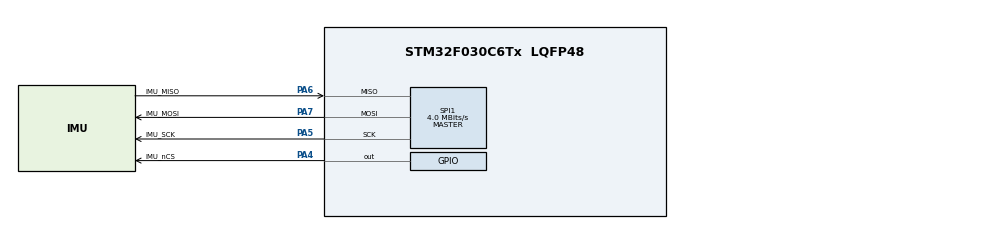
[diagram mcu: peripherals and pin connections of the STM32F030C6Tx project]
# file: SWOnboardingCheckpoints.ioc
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Mcu.Family=STM32F0
Mcu.Name=STM32F030C6Tx
Mcu.Package=LQFP48
PA4.GPIO_Label=IMU_nCS
PA4.PinState=GPIO_PIN_SET
PA4.Signal=GPIO_Output
PA5.GPIO_Label=IMU_SCK
PA5.Mode=Full_Duplex_Master
PA5.Signal=SPI1_SCK
PA6.GPIO_Label=IMU_MISO
PA6.Mode=Full_Duplex_Master
PA6.Signal=SPI1_MISO
PA7.GPIO_Label=IMU_MOSI
PA7.Mode=Full_Duplex_Master
PA7.Signal=SPI1_MOSI
ProjectManager.HeapSize=0x200
ProjectManager.StackSize=0x400
ProjectManager.TargetToolchain=CMake
SPI1.BaudRatePrescaler=SPI_BAUDRATEPRESCALER_2
SPI1.CLKPhase=SPI_PHASE_2EDGE
SPI1.CLKPolarity=SPI_POLARITY_HIGH
SPI1.CalculateBaudRate=4.0 MBits/s
SPI1.DataSize=SPI_DATASIZE_8BIT
SPI1.Direction=SPI_DIRECTION_2LINES
SPI1.Mode=SPI_MODE_MASTER
SPI1.VirtualType=VM_MASTER
board=custom

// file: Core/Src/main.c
/* USER CODE BEGIN Header */
/**
  ******************************************************************************
  * @file           : main.c
  * @brief          : Main program body
  ******************************************************************************
  * @attention
  *
  * Copyright (c) 2026 STMicroelectronics.
  * All rights reserved.
  *
  * This software is licensed under terms that can be found in the LICENSE file
  * in the root directory of this software component.
  * If no LICENSE file comes with this software, it is provided AS-IS.
  *
  ******************************************************************************
  */
/* USER CODE END Header */
#include "main.h"

/* USER CODE BEGIN Includes */
#include <stdio.h>

/* USER CODE END Includes */

SPI_HandleTypeDef hspi1;

void SystemClock_Config(void);
static void MX_GPIO_Init(void);
static void MX_SPI1_Init(void);
/* USER CODE BEGIN PFP */
extern void initialise_monitor_handles(void);
HAL_StatusTypeDef imu_read_register(uint8_t register_address, uint8_t *received_loc, uint32_t timeout);
HAL_StatusTypeDef imu_write_register(uint8_t register_address, uint8_t write_data, uint32_t timeout);
HAL_StatusTypeDef imu_read_int16(uint8_t low_register_address, int16_t *raw_var, uint32_t timeout);
void print_measurement(const char *name, double value, const char *unit, uint8_t dp);
typedef struct {
    uint8_t low_x_address;
    uint8_t low_y_address;
    uint8_t low_z_address;
    double x;
    double y;
    double z;
    double sens;
} Accelerometer;
typedef struct {
    uint8_t low_x_address;
    uint8_t low_y_address;
    uint8_t low_z_address;
    double x;
    double y;
    double z;
    double sens;
} Gyroscope;
HAL_StatusTypeDef imu_read_xyz(uint8_t x_low_address, int16_t *x_var, int16_t *y_var, int16_t *z_var, uint32_t timeout);
/* USER CODE END PFP */

int main(void)
{

  /* MCU Configuration--------------------------------------------------------*/

  /* Reset of all peripherals, Initializes the Flash interface and the Systick. */
  HAL_Init();

  /* Configure the system clock */
  SystemClock_Config();

  /* USER CODE BEGIN SysInit */
  initialise_monitor_handles();
  /* USER CODE END SysInit */

  /* Initialize all configured peripherals */
  MX_GPIO_Init();
  MX_SPI1_Init();
  /* USER CODE BEGIN 2 */
  printf("Semihosting initialized successfully!\r\n");

  uint32_t timeout = 100;
  uint8_t WHO_AM_I;
  uint8_t WHO_AM_I_address = 0x0F;

  HAL_StatusTypeDef read_status = imu_read_register(WHO_AM_I_address, &WHO_AM_I, timeout);

  if (read_status == HAL_OK) {
    printf("WHO_AM_I: 0x%02X\r\n", WHO_AM_I);
  }
  else {
    printf("Unable to read IMU register, status: %d\r\n", read_status);
  }

  uint8_t XL_address = 0x10;
  uint8_t XL_val = 0x50;
  uint8_t G_address = 0x11;
  uint8_t G_val = 0x50;
  uint8_t Ctrl_address = 0x12;
  uint8_t Ctrl_val = 0x44;

  HAL_StatusTypeDef XL_status = imu_write_register(XL_address, XL_val, timeout);
  HAL_StatusTypeDef G_status = imu_write_register(G_address, G_val, timeout);
  HAL_StatusTypeDef Ctrl_status = imu_write_register(Ctrl_address, Ctrl_val, timeout);

  printf("Accelerometer write status: %d\r\n", XL_status);
  printf("Gyroscope write status: %d\r\n", G_status);
  printf("Control register write status: %d\r\n", Ctrl_status);

  uint8_t XL_val_test;
  uint8_t G_val_test;
  uint8_t Ctrl_val_test;

  HAL_StatusTypeDef XL_read_status = imu_read_register(XL_address, &XL_val_test, timeout);
  HAL_StatusTypeDef G_read_status = imu_read_register(G_address, &G_val_test, timeout);
  HAL_StatusTypeDef Ctrl_read_status = imu_read_register(Ctrl_address, &Ctrl_val_test, timeout);

  printf("Accelerometer read status: %d\r\n", XL_read_status);
  printf("Gyroscope read status: %d\r\n", G_read_status);
  printf("Control register read status: %d\r\n", Ctrl_read_status);

  printf("\r\n");

  if (XL_read_status == HAL_OK && XL_val_test == XL_val) {
    printf("CTRL1_XL: 0x%02X\r\n", XL_val_test);
  }
  if (G_read_status == HAL_OK && G_val_test == G_val) {
    printf("CTRL2_G: 0x%02X\r\n", G_val_test);
  }
  if (Ctrl_read_status == HAL_OK && Ctrl_val_test == Ctrl_val) {
    printf("CTRL3_C: 0x%02X\r\n", Ctrl_val_test);
  }

  Accelerometer acc = { .low_x_address=0x28, .low_y_address=0x2A, .low_z_address=0x2C, .sens=0.061};
  Gyroscope gy = { .low_x_address=0x22, .low_y_address=0x24, .low_z_address=0x26,.sens=8.75};

  int16_t XL_x_raw;
  int16_t XL_y_raw;
  int16_t XL_z_raw;
  int16_t G_x_raw;
  int16_t G_y_raw;
  int16_t G_z_raw;

  uint32_t last_sample_time = HAL_GetTick();
  uint32_t last_print_time = HAL_GetTick();

  const uint32_t sample_period_ms = 5;
  const uint32_t print_period_ms = 500;
  /* USER CODE END 2 */

  /* Infinite loop */
  /* USER CODE BEGIN WHILE */
  while (1) {
    uint32_t current_time = HAL_GetTick();

    if (current_time - last_sample_time >= sample_period_ms) {
      last_sample_time += sample_period_ms;

      HAL_StatusTypeDef acc_read_status = imu_read_xyz(acc.low_x_address, &XL_x_raw, &XL_y_raw, &XL_z_raw, timeout);
      HAL_StatusTypeDef gy_read_status = imu_read_xyz(gy.low_x_address, &G_x_raw, &G_y_raw, &G_z_raw, timeout);

      if (acc_read_status == HAL_OK) {
        acc.x = (double) (XL_x_raw * acc.sens) / 1000;
        acc.y = (double) (XL_y_raw * acc.sens) / 1000;
        acc.z = (double) (XL_z_raw * acc.sens) / 1000;
      }

      if (gy_read_status == HAL_OK) {
        gy.x = (double) (G_x_raw * gy.sens) / 1000;
        gy.y = (double) (G_y_raw * gy.sens) / 1000;
        gy.z = (double) (G_z_raw * gy.sens) / 1000;
      }
    }

    if (current_time - last_print_time >= print_period_ms) {
      last_print_time += print_period_ms;

      print_measurement("Accelerometer X", acc.x, "g", 3);
      print_measurement("Accelerometer Y", acc.y, "g", 3);
      print_measurement("Accelerometer Z", acc.z, "g", 3);

      print_measurement("Gyroscope X", gy.x, "dps", 3);
      print_measurement("Gyroscope Y", gy.y, "dps", 3);
      print_measurement("Gyroscope Z", gy.z, "dps", 3);

      printf("\r\n");
    }
    /* USER CODE END WHILE */

  }
}

void SystemClock_Config(void)
{
  RCC_OscInitTypeDef RCC_OscInitStruct = {0};
  RCC_ClkInitTypeDef RCC_ClkInitStruct = {0};

  /** Initializes the RCC Oscillators according to the specified parameters
  * in the RCC_OscInitTypeDef structure.
  */
  RCC_OscInitStruct.OscillatorType = RCC_OSCILLATORTYPE_HSI;
  RCC_OscInitStruct.HSIState = RCC_HSI_ON;
  RCC_OscInitStruct.HSICalibrationValue = RCC_HSICALIBRATION_DEFAULT;
  RCC_OscInitStruct.PLL.PLLState = RCC_PLL_NONE;
  if (HAL_RCC_OscConfig(&RCC_OscInitStruct) != HAL_OK)
  {
    Error_Handler();
  }

  /** Initializes the CPU, AHB and APB buses clocks
  */
  RCC_ClkInitStruct.ClockType = RCC_CLOCKTYPE_HCLK|RCC_CLOCKTYPE_SYSCLK
                              |RCC_CLOCKTYPE_PCLK1;
  RCC_ClkInitStruct.SYSCLKSource = RCC_SYSCLKSOURCE_HSI;
  RCC_ClkInitStruct.AHBCLKDivider = RCC_SYSCLK_DIV1;
  RCC_ClkInitStruct.APB1CLKDivider = RCC_HCLK_DIV1;

  if (HAL_RCC_ClockConfig(&RCC_ClkInitStruct, FLASH_LATENCY_0) != HAL_OK)
  {
    Error_Handler();
  }
}

static void MX_SPI1_Init(void)
{

  /* SPI1 parameter configuration*/
  hspi1.Instance = SPI1;
  hspi1.Init.Mode = SPI_MODE_MASTER;
  hspi1.Init.Direction = SPI_DIRECTION_2LINES;
  hspi1.Init.DataSize = SPI_DATASIZE_8BIT;
  hspi1.Init.CLKPolarity = SPI_POLARITY_HIGH;
  hspi1.Init.CLKPhase = SPI_PHASE_2EDGE;
  hspi1.Init.NSS = SPI_NSS_SOFT;
  hspi1.Init.BaudRatePrescaler = SPI_BAUDRATEPRESCALER_2;
  hspi1.Init.FirstBit = SPI_FIRSTBIT_MSB;
  hspi1.Init.TIMode = SPI_TIMODE_DISABLE;
  hspi1.Init.CRCCalculation = SPI_CRCCALCULATION_DISABLE;
  hspi1.Init.CRCPolynomial = 7;
  hspi1.Init.CRCLength = SPI_CRC_LENGTH_DATASIZE;
  hspi1.Init.NSSPMode = SPI_NSS_PULSE_DISABLE;
  if (HAL_SPI_Init(&hspi1) != HAL_OK)
  {
    Error_Handler();
  }

}

static void MX_GPIO_Init(void)
{
  GPIO_InitTypeDef GPIO_InitStruct = {0};

  /* GPIO Ports Clock Enable */
  __HAL_RCC_GPIOA_CLK_ENABLE();

  /*Configure GPIO pin Output Level */
  HAL_GPIO_WritePin(IMU_nCS_GPIO_Port, IMU_nCS_Pin, GPIO_PIN_SET);

  /*Configure GPIO pin : IMU_nCS_Pin */
  GPIO_InitStruct.Pin = IMU_nCS_Pin;
  GPIO_InitStruct.Mode = GPIO_MODE_OUTPUT_PP;
  GPIO_InitStruct.Pull = GPIO_NOPULL;
  GPIO_InitStruct.Speed = GPIO_SPEED_FREQ_LOW;
  HAL_GPIO_Init(IMU_nCS_GPIO_Port, &GPIO_InitStruct);

}

/* USER CODE BEGIN 4 */
HAL_StatusTypeDef imu_read_register(uint8_t register_address, uint8_t *received_loc, uint32_t timeout) {
  uint8_t read_command = register_address | 0x80;
  uint8_t tx_buffer[2] = {read_command, 0x00};
  uint8_t rx_buffer[2] = {0x00, 0x00};

  HAL_GPIO_WritePin(IMU_nCS_GPIO_Port, IMU_nCS_Pin, GPIO_PIN_RESET);
  HAL_StatusTypeDef status = HAL_SPI_TransmitReceive(&hspi1, &tx_buffer[0], &rx_buffer[0], 2, timeout);
  HAL_GPIO_WritePin(IMU_nCS_GPIO_Port, IMU_nCS_Pin, GPIO_PIN_SET);

  if (status == HAL_OK) {
    *received_loc = rx_buffer[1];
  }
  return status;
}

HAL_StatusTypeDef imu_write_register(uint8_t register_address, uint8_t write_data, uint32_t timeout) {
  uint8_t write_buffer[2];
  uint8_t write_command = register_address & 0x7F;

  write_buffer[0] = write_command;
  write_buffer[1] = write_data;

  HAL_GPIO_WritePin(IMU_nCS_GPIO_Port, IMU_nCS_Pin, GPIO_PIN_RESET);
  HAL_StatusTypeDef write_status = HAL_SPI_Transmit(&hspi1, write_buffer, 2, timeout);
  HAL_GPIO_WritePin(IMU_nCS_GPIO_Port, IMU_nCS_Pin, GPIO_PIN_SET);

  return write_status;
}

HAL_StatusTypeDef imu_read_int16(uint8_t low_register_address, int16_t *raw_var, uint32_t timeout) {
    uint8_t low_val;
    uint8_t high_val;
    uint8_t high_register_address = low_register_address + 0x01;

    HAL_StatusTypeDef low_read_status = imu_read_register(low_register_address, &low_val, timeout);
    if (low_read_status != HAL_OK) {
        return low_read_status;
    }

    HAL_StatusTypeDef high_read_status = imu_read_register(high_register_address, &high_val, timeout);
    if (high_read_status != HAL_OK) {
        return high_read_status;
    }

    *raw_var = (int16_t) ((high_val << 8) | low_val);
    return HAL_OK;
}

void print_measurement(const char *name, double value, const char *unit, uint8_t dp) {
  char sign = value < 0 ? '-' : '+';

  if (value < 0) {
    value = -value;
  }

  uint32_t scale = 1;
  for (uint8_t i = 0; i < dp; i++) {
    scale *= 10;
  }

  uint32_t scaled = (uint32_t)(value * scale);
  uint32_t whole_part = scaled / scale;
  uint32_t decimal_part = scaled % scale;

  printf("%s: %c%lu.%0*lu %s\r\n", name, sign, (unsigned long)whole_part, dp, (unsigned long)decimal_part, unit);
}

HAL_StatusTypeDef imu_read_xyz(uint8_t x_low_address, int16_t *x_var, int16_t *y_var, int16_t *z_var, uint32_t timeout) {
  uint8_t read_command = x_low_address | 0x80;
  uint8_t tx_buffer[7] = {read_command};
  uint8_t rx_buffer[7];

  HAL_GPIO_WritePin(IMU_nCS_GPIO_Port, IMU_nCS_Pin, GPIO_PIN_RESET);
  HAL_StatusTypeDef read_status = HAL_SPI_TransmitReceive(&hspi1, tx_buffer, rx_buffer, 7, timeout);
  HAL_GPIO_WritePin(IMU_nCS_GPIO_Port, IMU_nCS_Pin, GPIO_PIN_SET);

  if (read_status == HAL_OK) {
    *x_var = (int16_t) ((rx_buffer[2] << 8) | rx_buffer[1]);
    *y_var = (int16_t) ((rx_buffer[4] << 8) | rx_buffer[3]);
    *z_var = (int16_t) ((rx_buffer[6] << 8) | rx_buffer[5]);
  }

  return read_status;
}
/* USER CODE END 4 */

void Error_Handler(void)
{
  __disable_irq();
  while (1)
  {
  }
}
